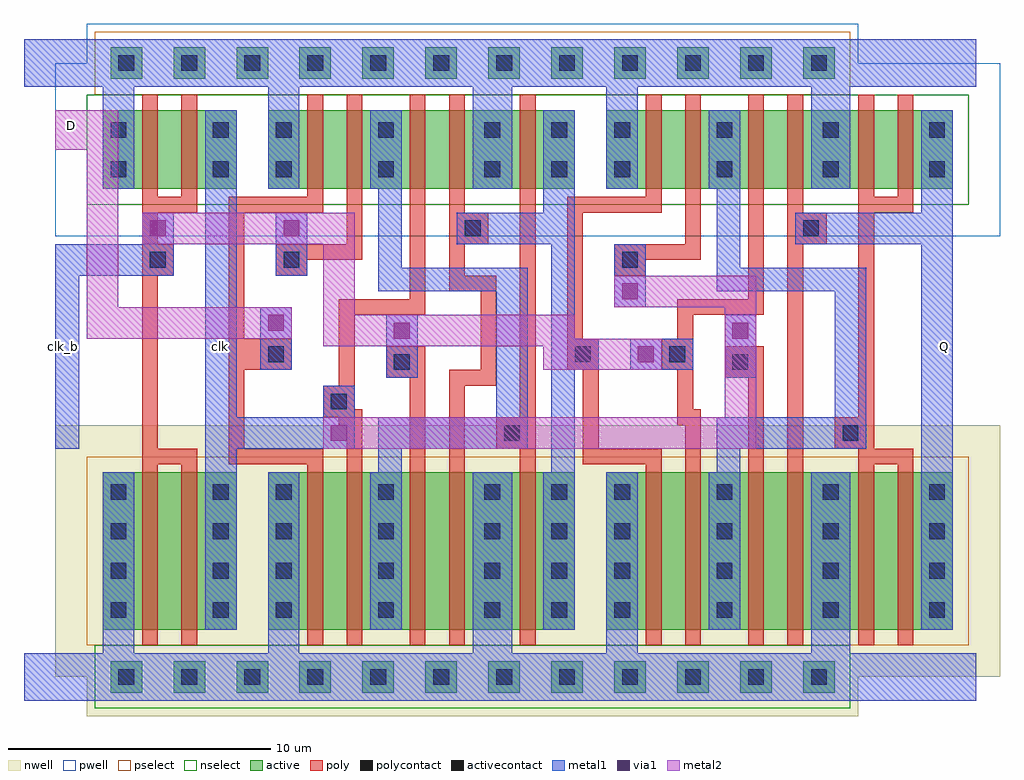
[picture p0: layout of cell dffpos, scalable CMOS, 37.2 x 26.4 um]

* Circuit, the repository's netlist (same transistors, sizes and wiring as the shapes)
* FILE: dffpos.sp


* SPICE netlist for "dffpos" generated by MMI_SUE5.6.37 on Mon Nov 26 
*+ 16:16:32 CST 2018.

.SUBCKT dffpos Clk_b D Q 
M_1 net_9 net_3 gnd gnd n W='3*1u' L='0.6*1u' 
M_2 net_4 Clk net_9 gnd n W='3*1u' L='0.6*1u' 
M_3 net_8 net_3 gnd gnd n W='3*1u' L='0.6*1u' 
M_4 net_2 Clk net_8 gnd n W='3*1u' L='0.6*1u' 
M_5 net_2 Clk_b net_10 vdd p W='6*1u' L='0.6*1u' 
M_6 net_10 net_3 vdd vdd p W='6*1u' L='0.6*1u' 
M_7 net_1 D gnd gnd n W='3*1u' L='0.6*1u' 
M_8 net_4 Clk_b net_1 gnd n W='3*1u' L='0.6*1u' 
M_9 net_4 Clk net_5 vdd p W='6*1u' L='0.6*1u' 
M_10 net_5 D vdd vdd p W='6*1u' L='0.6*1u' 
M_11 net_6 Q gnd gnd n W='3*1u' L='0.6*1u' 
M_12 net_2 Clk_b net_6 gnd n W='3*1u' L='0.6*1u' 
M_13 net_2 Clk net_12 vdd p W='6*1u' L='0.6*1u' 
M_14 net_12 Q vdd vdd p W='6*1u' L='0.6*1u' 
M_15 net_14 net_3 vdd vdd p W='6*1u' L='0.6*1u' 
M_16 net_4 Clk_b net_14 vdd p W='6*1u' L='0.6*1u' 
M_17 net_3 net_4 gnd gnd n W='3*1u' L='0.6*1u' 
M_18 net_3 net_4 vdd vdd p W='6*1u' L='0.6*1u' 
M_19 Q net_2 net_7 gnd n W='3*1u' L='0.6*1u' 
M_20 net_7 net_2 gnd gnd n W='3*1u' L='0.6*1u' 
M_21 net_11 net_2 vdd vdd p W='6*1u' L='0.6*1u' 
M_22 Q net_2 net_11 vdd p W='6*1u' L='0.6*1u' 
M_23 net_13 Clk_b gnd gnd n W='3*1u' L='0.6*1u' 
M_24 Clk Clk_b net_13 gnd n W='3*1u' L='0.6*1u' 
M_25 net_15 Clk_b vdd vdd p W='6*1u' L='0.6*1u' 
M_26 Clk Clk_b net_15 vdd p W='6*1u' L='0.6*1u' 
.ENDS	$ dffpos

.GLOBAL gnd vdd

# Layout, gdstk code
import gdstk
lib = gdstk.Library(unit=1e-6, precision=1e-09)
def R(c, l, rs):  # rectangles x0, y0, x1, y1
    for r in rs: c.add(gdstk.rectangle(r[:2], r[2:], *l))
def A(c, l, x, y, w, h, nx, ny, dx, dy):  # array of equal rectangles
    R(c, l, [(x+i*dx, y+j*dy, x+i*dx+w, y+j*dy+h) for i in range(nx) for j in range(ny)])
pwell = (41, 0)
nwell = (42, 0)
active = (43, 0)
pselect = (44, 0)
nselect = (45, 0)
poly = (46, 0)
polycontact = (47, 0)
activecontact = (48, 0)
metal1 = (49, 0)
via1 = (50, 0)
metal2 = (51, 0)

dffpos = lib.new_cell('dffpos')
R(dffpos, pwell, [(6.6,17.7,42.6,24.3), (7.8,24.3,37.2,25.8)])
R(dffpos, nwell, [(7.8,-0.6,37.2,0.9), (6.6,0.9,42.6,10.5)])
A(dffpos, active, 8.7, 0.3, 1.2, 1.2, 12, 2, 2.4, 23.4)
R(dffpos, active, [(8.4,2.7,13.5,8.7), (14.7,2.7,26.4,8.7), (27.6,2.7,40.8,8.7), (8.4,19.5,13.5,22.5), (14.7,19.5,26.4,22.5), (27.6,19.5,40.8,22.5)])
R(dffpos, pselect, [(7.8,2.1,41.4,9.3), (8.1,23.1,36.9,25.5)])
R(dffpos, nselect, [(8.1,-0.3,36.9,2.1), (7.8,18.9,41.4,23.1)])
R(dffpos, poly, [(9.9,2.1,10.5,9), (11.4,2.1,12,9), (16.2,2.1,16.8,9), (17.7,2.1,18.3,10.5), (20.1,2.1,20.7,12.3), (21.6,2.1,22.2,12), (24.3,2.1,24.9,9.6), (29.1,2.1,29.7,9), (30.6,2.1,31.2,10.5), (33,2.1,33.6,12.3), (34.5,2.1,35.1,17.4), (37.2,2.1,37.8,9), (38.7,2.1,39.3,9), (9.9,9,12,9.6), (13.2,9,16.8,9.6), (26.7,9,29.7,9.6), (37.2,9,39.3,9.6), (9.9,9.6,10.5,16.2), (13.2,9.6,13.8,12.6), (23.4,9.6,24.9,10.8), (26.7,9.6,27.3,12.6), (36.3,9.6,37.8,10.8), (17.4,10.5,18.3,10.8), (30.3,10.5,31.2,11.1), (16.8,10.8,18.3,11.1), (24.3,10.8,24.9,23.1), (37.2,10.8,37.8,18.6), (16.8,11.1,18,12), (30.3,11.1,30.9,12.6), (17.4,12,18,14.7), (21.6,12,23.4,12.6), (19.2,12.3,20.7,13.5), (32.1,12.3,33.6,13.5), (13.2,12.6,15.6,13.8), (22.8,12.6,23.4,15.6), (26.1,12.6,27.3,13.8), (29.7,12.6,30.9,13.8), (13.2,13.8,13.8,18.6), (26.1,13.8,26.7,18.6), (30.3,13.8,30.9,14.7), (17.4,14.7,20.7,15.3), (30.3,14.7,33.6,15.3), (20.1,15.3,20.7,23.1), (33,15.3,33.6,23.1), (21.6,15.6,23.4,16.2), (9.9,16.2,11.1,17.4), (15,16.2,16.2,16.8), (21.6,16.2,22.2,17.4), (27.9,16.2,29.1,16.8), (15,16.8,18.3,17.4), (27.9,16.8,31.2,17.4), (9.9,17.4,10.5,18.6), (17.7,17.4,18.3,23.1), (21.6,17.4,23.1,18.6), (30.6,17.4,31.2,23.1), (34.5,17.4,36,18.6), (9.9,18.6,12,19.2), (13.2,18.6,16.8,19.2), (21.6,18.6,22.2,23.1), (26.1,18.6,29.7,19.2), (34.5,18.6,35.1,23.1), (37.2,18.6,39.3,19.2), (9.9,19.2,10.5,23.1), (11.4,19.2,12,23.1), (16.2,19.2,16.8,23.1), (29.1,19.2,29.7,23.1), (37.2,19.2,37.8,23.1), (38.7,19.2,39.3,23.1)])
R(dffpos, polycontact, [(23.7,9.9,24.3,10.5), (36.6,9.9,37.2,10.5), (17.1,11.1,17.7,11.7), (19.5,12.6,20.1,13.2), (32.4,12.6,33,13.2), (14.7,12.9,15.3,13.5), (26.4,12.9,27,13.5), (30,12.9,30.6,13.5), (10.2,16.5,10.8,17.1), (15.3,16.5,15.9,17.1), (28.2,16.5,28.8,17.1), (22.2,17.7,22.8,18.3), (35.1,17.7,35.7,18.3)])
A(dffpos, activecontact, 9, 0.6, 0.6, 0.6, 12, 2, 2.4, 23.4)
A(dffpos, activecontact, 8.7, 3.15, 0.6, 0.6, 1, 4, 0, 1.5)
A(dffpos, activecontact, 12.6, 3.15, 0.6, 0.6, 1, 4, 0, 1.5)
A(dffpos, activecontact, 15, 3.15, 0.6, 0.6, 1, 4, 0, 1.5)
A(dffpos, activecontact, 18.9, 3.15, 0.6, 0.6, 1, 4, 0, 1.5)
A(dffpos, activecontact, 22.95, 3.15, 0.6, 0.6, 1, 4, 0, 1.5)
A(dffpos, activecontact, 25.5, 3.15, 0.6, 0.6, 1, 4, 0, 1.5)
A(dffpos, activecontact, 27.9, 3.15, 0.6, 0.6, 1, 4, 0, 1.5)
A(dffpos, activecontact, 31.8, 3.15, 0.6, 0.6, 3, 4, 4.05, 1.5)
A(dffpos, activecontact, 31.8, 19.95, 0.6, 0.6, 3, 2, 4.05, 1.5)
R(dffpos, activecontact, [(8.7,19.95,9.3,20.55), (12.6,19.95,13.2,20.55), (15,19.95,15.6,20.55), (18.9,19.95,19.5,20.55), (22.95,19.95,23.55,20.55), (25.5,19.95,26.1,20.55), (27.9,19.95,28.5,20.55), (8.7,21.45,9.3,22.05), (12.6,21.45,13.2,22.05), (15,21.45,15.6,22.05), (18.9,21.45,19.5,22.05), (22.95,21.45,23.55,22.05), (25.5,21.45,26.1,22.05), (27.9,21.45,28.5,22.05)])
R(dffpos, metal1, [(5.4,0,41.7,1.8), (8.4,1.8,9.6,8.7), (14.7,1.8,15.9,8.7), (22.5,1.8,24,8.7), (27.6,1.8,28.8,8.7), (35.4,1.8,36.9,8.7), (12.3,2.7,13.5,9.6), (18.6,2.7,19.8,8.7), (25.2,2.7,26.4,8.7), (31.5,2.7,32.7,8.7), (39.6,2.7,40.8,17.4), (18.9,8.7,19.8,9.6), (25.5,8.7,26.4,12.6), (31.8,8.7,32.7,9.6), (6.6,9.6,7.5,16.2), (12.3,9.6,18,10.8), (18.9,9.6,24.6,10.8), (31.8,9.6,37.5,10.8), (12.3,10.8,13.5,22.5), (16.8,10.8,18,12), (23.4,10.8,24.6,15.6), (36.3,10.8,37.5,15.6), (19.2,12.3,20.4,14.7), (32.1,12.3,33.3,14.7), (14.4,12.6,15.6,15), (25.5,12.6,27.3,13.8), (28.5,12.6,30.9,13.8), (25.5,13.8,26.4,17.4), (27.9,15,29.1,17.4), (18.9,15.6,24.6,16.5), (31.8,15.6,37.5,16.5), (6.6,16.2,11.1,17.4), (15,16.2,16.2,18.6), (18.9,16.5,19.8,19.5), (31.8,16.5,32.7,19.5), (9.9,17.4,11.1,18.6), (21.9,17.4,26.4,18.6), (34.8,17.4,40.8,18.6), (25.2,18.6,26.4,22.5), (39.6,18.6,40.8,22.5), (8.4,19.5,9.6,23.4), (14.7,19.5,15.9,23.4), (18.6,19.5,19.8,22.5), (22.5,19.5,24,23.4), (27.6,19.5,28.8,23.4), (31.5,19.5,32.7,22.5), (35.4,19.5,36.9,23.4), (5.4,23.4,41.7,25.2)])
R(dffpos, via1, [(17.1,9.9,17.7,10.5), (28.8,12.9,29.4,13.5), (19.5,13.8,20.1,14.4), (32.4,13.8,33,14.4), (14.7,14.1,15.3,14.7), (28.2,15.3,28.8,15.9), (10.2,17.7,10.8,18.3), (15.3,17.7,15.9,18.3)])
R(dffpos, metal2, [(16.8,9.6,33.3,10.8), (32.1,10.8,33.3,15), (25.2,12.6,29.7,13.5), (16.8,13.5,29.7,13.8), (7.8,13.8,15.6,15), (16.8,13.8,26.4,14.7), (16.8,14.7,18,17.4), (7.8,15,9,21), (27.9,15,33.3,16.2), (9.9,17.4,18,18.6), (6.6,21,9,22.5)])
dffpos.add(gdstk.Label('D', (7.2,21.9), layer=51, texttype=0))
dffpos.add(gdstk.Label('clk_b', (6.9,13.5), layer=49, texttype=0))
dffpos.add(gdstk.Label('clk', (12.9,13.5), layer=49, texttype=0))
dffpos.add(gdstk.Label('Q', (40.5,13.5), layer=49, texttype=0))

lib.write_gds('dffpos.gds')
